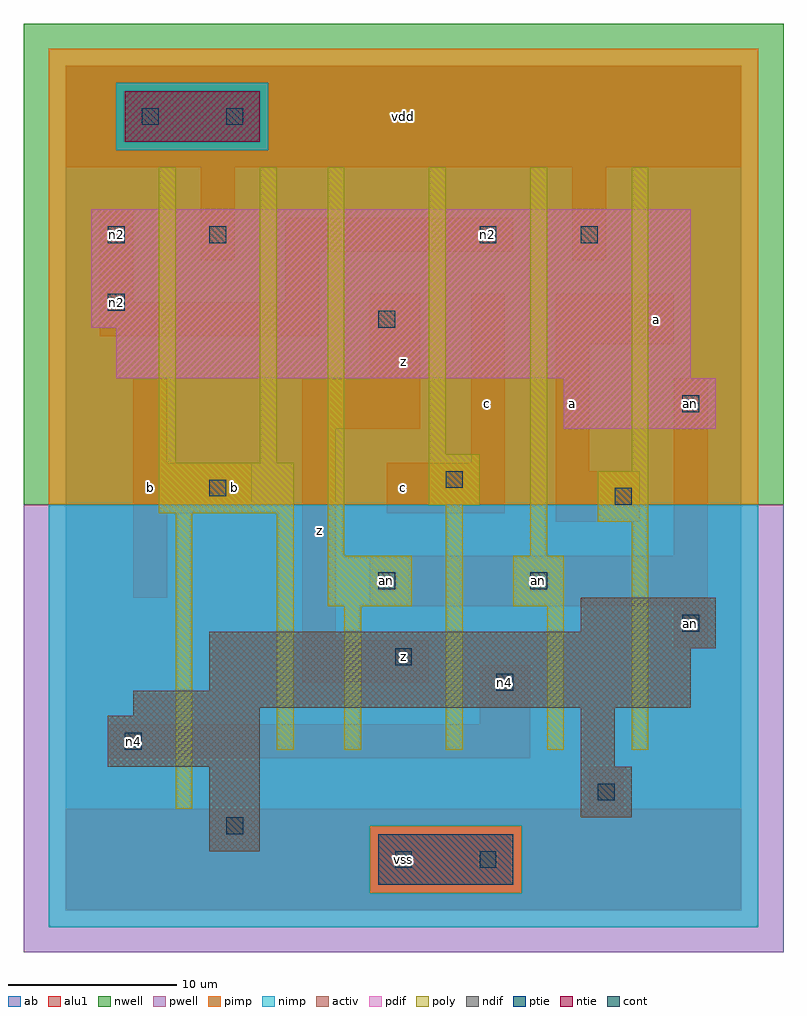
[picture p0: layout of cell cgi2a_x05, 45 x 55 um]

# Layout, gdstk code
import gdstk
lib = gdstk.Library(unit=1e-6, precision=1e-09)
def R(c, l, rs):  # rectangles x0, y0, x1, y1
    for r in rs: c.add(gdstk.rectangle(r[:2], r[2:], *l))
ndif = (3, 0)
pdif = (4, 0)
ntie = (5, 0)
ptie = (6, 0)
cont = (25, 0)
pwell = (41, 0)
nwell = (42, 0)
activ = (43, 0)
pimp = (44, 0)
nimp = (45, 0)
poly = (46, 0)
alu1 = (49, 0)
ab = (63, 0)

cgi2a_x05 = lib.new_cell('cgi2a_x05')
R(cgi2a_x05, ndif, [(8.5,3.5,11.5,8.5), (30.5,5.5,33.5,8.5), (2.5,8.5,11.5,11.5), (30.5,8.5,32.5,12), (4,11.5,11.5,12), (4,12,37,13), (8.5,13,37,15.5), (8.5,15.5,38.5,16.5), (30.5,16.5,38.5,18.5)])
R(cgi2a_x05, pdif, [(29.5,28.5,38.5,31.5), (3,31.5,37,34.5), (1.5,34.5,37,41.5)])
R(cgi2a_x05, ntie, [(3.5,45.5,11.5,48.5)])
R(cgi2a_x05, ptie, [(18.5,1.5,26.5,4.5)])
R(cgi2a_x05, cont, [(19.5,2.5,20.5,3.5), (24.5,2.5,25.5,3.5), (9.5,4.5,10.5,5.5), (31.5,6.5,32.5,7.5), (3.5,9.5,4.5,10.5), (25.5,13,26.5,14), (19.5,14.5,20.5,15.5), (36.5,16.5,37.5,17.5), (18.5,19,19.5,20), (27.5,19,28.5,20), (32.5,24,33.5,25), (8.5,24.5,9.5,25.5), (22.5,25,23.5,26), (36.5,29.5,37.5,30.5), (18.5,34.5,19.5,35.5), (2.5,35.5,3.5,36.5), (2.5,39.5,3.5,40.5), (8.5,39.5,9.5,40.5), (24.5,39.5,25.5,40.5), (30.5,39.5,31.5,40.5), (4.5,46.5,5.5,47.5), (9.5,46.5,10.5,47.5)])
R(cgi2a_x05, pwell, [(-2.5,-2.5,42.5,24)])
R(cgi2a_x05, nwell, [(-2.5,24,42.5,52.5)])
R(cgi2a_x05, activ, [(18.5,1.5,26.5,4.5), (8.5,3.5,11.5,8.5), (30.5,5.5,33.5,8.5), (2.5,8.5,11.5,11.5), (30.5,8.5,32.5,12), (4,11.5,11.5,12), (4,12,37,13), (8.5,13,37,15.5), (8.5,15.5,38.5,16.5), (30.5,16.5,38.5,18.5), (29.5,28.5,38.5,31.5), (3,31.5,37,34.5), (1.5,34.5,37,41.5), (3.5,45.5,11.5,48.5)])
R(cgi2a_x05, pimp, [(18,1,27,5), (-1,24,41,45), (-1,45,3,49), (12,45,41,49), (-1,49,41,51)])
R(cgi2a_x05, nimp, [(-1,-1,41,1), (-1,1,18,5), (27,1,41,5), (-1,5,41,24), (3,45,12,49)])
R(cgi2a_x05, poly, [(6.5,6,7.5,23.5), (12.5,9.5,13.5,23.5), (16.5,9.5,17.5,18), (22.5,9.5,23.5,24), (28.5,9.5,29.5,18), (33.5,9.5,34.5,23), (15.5,18,20.5,21), (26.5,18,29.5,21), (15.5,21,16.5,44), (27.5,21,28.5,44), (31.5,23,34.5,26), (5.5,23.5,13.5,26.5), (21.5,24,24.5,27), (33.5,26,34.5,44), (5.5,26.5,6.5,44), (11.5,26.5,12.5,44), (21.5,27,22.5,44)])
R(cgi2a_x05, alu1, [(0,0,40,6), (0,0,40,6), (31,6,33,8.5), (31,6,33,8.5), (2.5,9,27.5,11), (2.5,9,27.5,11), (24.5,11,27.5,14.5), (24.5,11,27.5,14.5), (14,13.5,21.5,16), (14,13.5,21.5,16), (36,15.5,38,18), (36,15.5,38,18), (14,16,16,28.5), (14,16,16,28.5), (18,18,38,21), (18,18,38,21), (4,18.5,6,23.5), (4,18.5,6,23.5), (36,21,38,31.5), (36,21,38,31.5), (29,23,34,26), (29,23,34,26), (4,23.5,11,26.5), (4,23.5,11,26.5), (19,23.5,26,26.5), (19,23.5,26,26.5), (29,26,31,33.5), (29,26,31,33.5), (4,26.5,6,31.5), (4,26.5,6,31.5), (24,26.5,26,36.5), (24,26.5,26,36.5), (14,28.5,21,31.5), (14,28.5,21,31.5), (18,31.5,21,36.5), (18,31.5,21,36.5), (29,33.5,36,36.5), (29,33.5,36,36.5), (2,34,15,36), (2,34,15,36), (2,36,4,41.5), (2,36,4,41.5), (13,36,15,39), (13,36,15,39), (8,38.5,10,44), (8,38.5,10,44), (30,38.5,32,44), (30,38.5,32,44), (13,39,26.5,41), (13,39,26.5,41), (0,44,40,50), (0,44,40,50)])
R(cgi2a_x05, ab, [(0,0,40,50)])
cgi2a_x05.add(gdstk.Label('n4', (4,10), layer=49, texttype=0))
cgi2a_x05.add(gdstk.Label('n2', (3,36), layer=49, texttype=0))
cgi2a_x05.add(gdstk.Label('n2', (3,40), layer=49, texttype=0))
cgi2a_x05.add(gdstk.Label('n4', (26,13.5), layer=49, texttype=0))
cgi2a_x05.add(gdstk.Label('an', (19,19.5), layer=49, texttype=0))
cgi2a_x05.add(gdstk.Label('an', (28,19.5), layer=49, texttype=0))
cgi2a_x05.add(gdstk.Label('n2', (25,40), layer=49, texttype=0))
cgi2a_x05.add(gdstk.Label('an', (37,17), layer=49, texttype=0))
cgi2a_x05.add(gdstk.Label('an', (37,30), layer=49, texttype=0))
cgi2a_x05.add(gdstk.Label('b', (5,25), layer=49, texttype=0))
cgi2a_x05.add(gdstk.Label('z', (15,22.5), layer=49, texttype=0))
cgi2a_x05.add(gdstk.Label('b', (10,25), layer=49, texttype=0))
cgi2a_x05.add(gdstk.Label('vss', (20,3), layer=49, texttype=0))
cgi2a_x05.add(gdstk.Label('z', (20,15), layer=49, texttype=0))
cgi2a_x05.add(gdstk.Label('c', (20,25), layer=49, texttype=0))
cgi2a_x05.add(gdstk.Label('z', (20,32.5), layer=49, texttype=0))
cgi2a_x05.add(gdstk.Label('c', (25,30), layer=49, texttype=0))
cgi2a_x05.add(gdstk.Label('vdd', (20,47), layer=49, texttype=0))
cgi2a_x05.add(gdstk.Label('a', (30,30), layer=49, texttype=0))
cgi2a_x05.add(gdstk.Label('a', (35,35), layer=49, texttype=0))

lib.write_gds('cgi2a_x05.gds')
